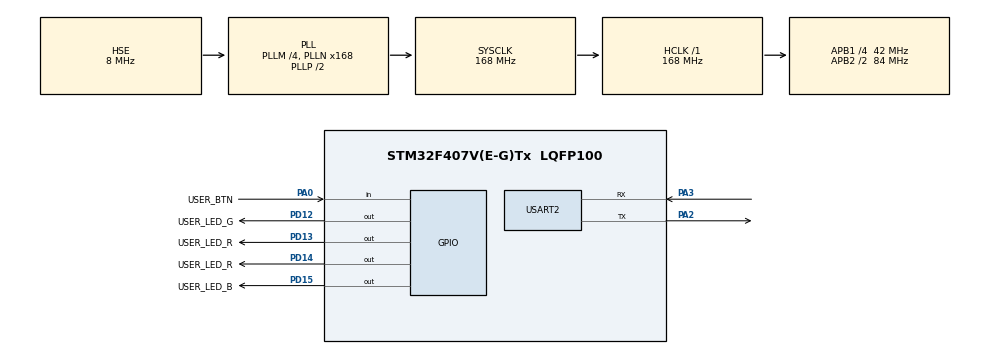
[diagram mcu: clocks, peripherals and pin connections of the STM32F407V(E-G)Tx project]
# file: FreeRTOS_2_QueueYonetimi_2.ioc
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FREERTOS.INCLUDE_eTaskGetState=1
FREERTOS.Tasks01=SenderTask1,0,128,SenderFunction,Default,NULL,Dynamic,NULL,NULL;ReceiverTask,-1,128,ReceiveFunction,Default,NULL,Dynamic,NULL,NULL
Mcu.Family=STM32F4
Mcu.Name=STM32F407V(E-G)Tx
Mcu.Package=LQFP100
NVIC.PriorityGroup=NVIC_PRIORITYGROUP_4
NVIC.TIM1_UP_TIM10_IRQn=true\:0\:0\:false\:false\:true\:false\:false\:true
NVIC.TimeBase=TIM1_UP_TIM10_IRQn
NVIC.TimeBaseIP=TIM1
PA0-WKUP.GPIO_Label=USER_BTN
PA0-WKUP.Signal=GPIO_Input
PA2.Mode=Asynchronous
PA2.Signal=USART2_TX
PA3.Mode=Asynchronous
PA3.Signal=USART2_RX
PD12.GPIO_Label=USER_LED_G
PD12.Signal=GPIO_Output
PD13.GPIO_Label=USER_LED_R
PD13.Signal=GPIO_Output
PD14.GPIO_Label=USER_LED_R
PD14.Signal=GPIO_Output
PD15.GPIO_Label=USER_LED_B
PD15.Signal=GPIO_Output
PH0-OSC_IN.Mode=HSE-External-Oscillator
PH0-OSC_IN.Signal=RCC_OSC_IN
PH1-OSC_OUT.Mode=HSE-External-Oscillator
PH1-OSC_OUT.Signal=RCC_OSC_OUT
ProjectManager.HeapSize=0x200
ProjectManager.StackSize=0x400
ProjectManager.TargetToolchain=STM32CubeIDE
RCC.48MHZClocksFreq_Value=84000000
RCC.AHBFreq_Value=168000000
RCC.APB1CLKDivider=RCC_HCLK_DIV4
RCC.APB1Freq_Value=42000000
RCC.APB1TimFreq_Value=84000000
RCC.APB2CLKDivider=RCC_HCLK_DIV2
RCC.APB2Freq_Value=84000000
RCC.APB2TimFreq_Value=168000000
RCC.CortexFreq_Value=168000000
RCC.HCLKFreq_Value=168000000
RCC.HSE_VALUE=8000000
RCC.HSI_VALUE=16000000
RCC.LSE_VALUE=32768
RCC.PLLM=4
RCC.PLLN=168
RCC.PLLSourceVirtual=RCC_PLLSOURCE_HSE
RCC.SYSCLKFreq_VALUE=168000000
RCC.SYSCLKSource=RCC_SYSCLKSOURCE_PLLCLK
RCC.VCOOutputFreq_Value=336000000
USART2.VirtualMode=VM_ASYNC
VP_FREERTOS_VS_CMSIS_V1.Mode=CMSIS_V1
VP_SYS_VS_tim1.Mode=TIM1
board=custom

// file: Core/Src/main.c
/* USER CODE BEGIN Header */
/**
  ******************************************************************************
  * @file           : main.c
  * @brief          : Main program body
  ******************************************************************************
  * @attention
  *
  * <h2><center>&copy; Copyright (c) 2020 STMicroelectronics.
  * All rights reserved.</center></h2>
  *
  * This software component is licensed by ST under BSD 3-Clause license,
  * the "License"; You may not use this file except in compliance with the
  * License. You may obtain a copy of the License at:
  *                        opensource.org/licenses/BSD-3-Clause
  *
  ******************************************************************************
  */
/* USER CODE END Header */
#include "main.h"
#include "cmsis_os.h"

/* USER CODE BEGIN Includes */
#include "stdio.h"
#include "string.h"
/* USER CODE END Includes */

UART_HandleTypeDef huart2;

osThreadId SenderTask1Handle;
osThreadId ReceiverTaskHandle;
/* USER CODE BEGIN PV */

QueueHandle_t xPointerQueue;

/* USER CODE END PV */

void SystemClock_Config(void);
static void MX_GPIO_Init(void);
static void MX_USART2_UART_Init(void);
void SenderFunction(void const * argument);
void ReceiveFunction(void const * argument);

/* USER CODE BEGIN PFP */
void UartPrint(char* message);
/* USER CODE END PFP */

int main(void)
{

  /* MCU Configuration--------------------------------------------------------*/

  /* Reset of all peripherals, Initializes the Flash interface and the Systick. */
  HAL_Init();

  /* Configure the system clock */
  SystemClock_Config();

  /* Initialize all configured peripherals */
  MX_GPIO_Init();
  MX_USART2_UART_Init();

  /* USER CODE BEGIN RTOS_QUEUES */

  xPointerQueue = xQueueCreate( 5, sizeof( char * ) );

  if(xPointerQueue != NULL)
  {

  /* add queues, ... */
  /* USER CODE END RTOS_QUEUES */

  /* Create the thread(s) */
  /* definition and creation of SenderTask1 */
	  osThreadDef(SenderTask1, SenderFunction, osPriorityNormal, 0, 128);
	  SenderTask1Handle = osThreadCreate(osThread(SenderTask1), NULL);

	  /* definition and creation of ReceiverTask */
	  osThreadDef(ReceiverTask, ReceiveFunction, osPriorityNormal, 0, 128);
	  ReceiverTaskHandle = osThreadCreate(osThread(ReceiverTask), NULL);

  }

  /* Start scheduler */
  osKernelStart();

  /* We should never get here as control is now taken by the scheduler */
  /* Infinite loop */
  while (1)
  {

  }
}

void SystemClock_Config(void)
{
  RCC_OscInitTypeDef RCC_OscInitStruct = {0};
  RCC_ClkInitTypeDef RCC_ClkInitStruct = {0};

  /** Configure the main internal regulator output voltage
  */
  __HAL_RCC_PWR_CLK_ENABLE();
  __HAL_PWR_VOLTAGESCALING_CONFIG(PWR_REGULATOR_VOLTAGE_SCALE1);
  /** Initializes the RCC Oscillators according to the specified parameters
  * in the RCC_OscInitTypeDef structure.
  */
  RCC_OscInitStruct.OscillatorType = RCC_OSCILLATORTYPE_HSE;
  RCC_OscInitStruct.HSEState = RCC_HSE_ON;
  RCC_OscInitStruct.PLL.PLLState = RCC_PLL_ON;
  RCC_OscInitStruct.PLL.PLLSource = RCC_PLLSOURCE_HSE;
  RCC_OscInitStruct.PLL.PLLM = 4;
  RCC_OscInitStruct.PLL.PLLN = 168;
  RCC_OscInitStruct.PLL.PLLP = RCC_PLLP_DIV2;
  RCC_OscInitStruct.PLL.PLLQ = 4;
  if (HAL_RCC_OscConfig(&RCC_OscInitStruct) != HAL_OK)
  {
    Error_Handler();
  }
  /** Initializes the CPU, AHB and APB buses clocks
  */
  RCC_ClkInitStruct.ClockType = RCC_CLOCKTYPE_HCLK|RCC_CLOCKTYPE_SYSCLK
                              |RCC_CLOCKTYPE_PCLK1|RCC_CLOCKTYPE_PCLK2;
  RCC_ClkInitStruct.SYSCLKSource = RCC_SYSCLKSOURCE_PLLCLK;
  RCC_ClkInitStruct.AHBCLKDivider = RCC_SYSCLK_DIV1;
  RCC_ClkInitStruct.APB1CLKDivider = RCC_HCLK_DIV4;
  RCC_ClkInitStruct.APB2CLKDivider = RCC_HCLK_DIV2;

  if (HAL_RCC_ClockConfig(&RCC_ClkInitStruct, FLASH_LATENCY_5) != HAL_OK)
  {
    Error_Handler();
  }
}

static void MX_USART2_UART_Init(void)
{

  huart2.Instance = USART2;
  huart2.Init.BaudRate = 115200;
  huart2.Init.WordLength = UART_WORDLENGTH_8B;
  huart2.Init.StopBits = UART_STOPBITS_1;
  huart2.Init.Parity = UART_PARITY_NONE;
  huart2.Init.Mode = UART_MODE_TX_RX;
  huart2.Init.HwFlowCtl = UART_HWCONTROL_NONE;
  huart2.Init.OverSampling = UART_OVERSAMPLING_16;
  if (HAL_UART_Init(&huart2) != HAL_OK)
  {
    Error_Handler();
  }

}

static void MX_GPIO_Init(void)
{
  GPIO_InitTypeDef GPIO_InitStruct = {0};

  /* GPIO Ports Clock Enable */
  __HAL_RCC_GPIOH_CLK_ENABLE();
  __HAL_RCC_GPIOA_CLK_ENABLE();
  __HAL_RCC_GPIOD_CLK_ENABLE();

  /*Configure GPIO pin Output Level */
  HAL_GPIO_WritePin(GPIOD, USER_LED_G_Pin|USER_LED_R_Pin|USER_LED_RD14_Pin|USER_LED_B_Pin, GPIO_PIN_RESET);

  /*Configure GPIO pin : USER_BTN_Pin */
  GPIO_InitStruct.Pin = USER_BTN_Pin;
  GPIO_InitStruct.Mode = GPIO_MODE_INPUT;
  GPIO_InitStruct.Pull = GPIO_NOPULL;
  HAL_GPIO_Init(USER_BTN_GPIO_Port, &GPIO_InitStruct);

  /*Configure GPIO pins : USER_LED_G_Pin USER_LED_R_Pin USER_LED_RD14_Pin USER_LED_B_Pin */
  GPIO_InitStruct.Pin = USER_LED_G_Pin|USER_LED_R_Pin|USER_LED_RD14_Pin|USER_LED_B_Pin;
  GPIO_InitStruct.Mode = GPIO_MODE_OUTPUT_PP;
  GPIO_InitStruct.Pull = GPIO_NOPULL;
  GPIO_InitStruct.Speed = GPIO_SPEED_FREQ_LOW;
  HAL_GPIO_Init(GPIOD, &GPIO_InitStruct);

}

/* USER CODE BEGIN 4 */

void UartPrint(char* message)
{
	HAL_UART_Transmit(&huart2, (uint8_t*)message, strlen(message), 20);
}

/* USER CODE END 4 */

void SenderFunction(void const * argument)
{
  /* USER CODE BEGIN 5 */

	char *pcStringToSend;
	const size_t xMaxStringLength = 50;
	BaseType_t xStringNumber = 0;

  /* Infinite loop */
  for(;;)
  {
	  // RTOS Kernel Malloc fonksiyonu ile  50 baytlik dizi tahsis edilmektedir.
	  pcStringToSend = ( char * ) pvPortMalloc(xMaxStringLength);

	  snprintf( pcStringToSend, xMaxStringLength, "String number %lu\r\n", xStringNumber );

	  xStringNumber++;

	  xQueueSend( xPointerQueue, &pcStringToSend,  portMAX_DELAY );

  }
  /* USER CODE END 5 */
}

void ReceiveFunction(void const * argument)
{
  /* USER CODE BEGIN ReceiveFunction */
  /* Infinite loop */
	char *pcReceivedString;

	for( ;; )
	{
	/* Receive the address of a buffer. */
		xQueueReceive( xPointerQueue, &pcReceivedString, portMAX_DELAY );

		UartPrint(pcReceivedString );

		// RTOS Kernel Free fonksiyonu ile de 50 baytlik tahsis edilen alan serbest birakilmaktadir.
		vPortFree( pcReceivedString );
	}
  /* USER CODE END ReceiveFunction */
}

void HAL_TIM_PeriodElapsedCallback(TIM_HandleTypeDef *htim)
{
  if (htim->Instance == TIM1) {
    HAL_IncTick();
  }
}

void Error_Handler(void)
{
}

/************************ (C) COPYRIGHT STMicroelectronics *****END OF FILE****/
